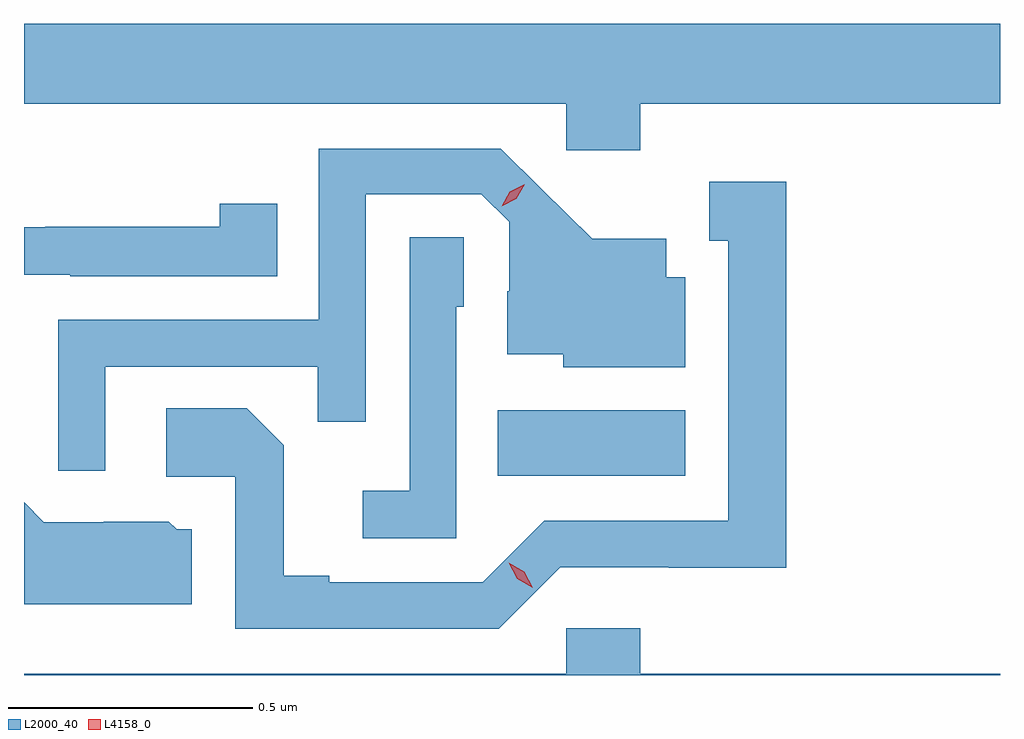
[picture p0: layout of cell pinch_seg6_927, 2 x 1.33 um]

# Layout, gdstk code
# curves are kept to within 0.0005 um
import gdstk
lib = gdstk.Library(unit=1e-6, precision=1e-09)
def R(c, l, rs):  # rectangles x0, y0, x1, y1
    for r in rs: c.add(gdstk.rectangle(r[:2], r[2:], *l))
def P(c, l, *ps):  # polygons
    for p in ps: c.add(gdstk.Polygon(p, *l))
L2000_40 = (2000, 40)
L4158_0 = (4158, 0)

pinch_seg6_927 = lib.new_cell('pinch_seg6_927')
R(pinch_seg6_927, L2000_40, [(122.272,915.938,122.656,916.072)])
P(pinch_seg6_927, L2000_40, [(122.564,916.7),(123.301,916.7),(123.301,916.864),(121.301,916.864),(121.301,916.7),(122.412,916.7),(122.412,916.605),(122.564,916.605)],
  [(121.467,916.161),(121.903,916.161),(121.903,916.048),(122.001,916.048),(122.001,916.515),(122.238,916.515),(122.295,916.458),(122.295,916.316),(122.291,916.316),(122.291,916.187),(122.406,916.187),(122.406,916.16),(122.656,916.16),(122.656,916.345),(122.617,916.345),(122.617,916.423),(122.465,916.423),(122.278,916.608),(121.905,916.608),(121.905,916.257),(121.371,916.257),(121.371,915.948),(121.467,915.948)],
  [(122.4,915.75),(122.622,915.75),(122.622,915.749),(122.863,915.749),(122.863,916.54),(122.705,916.54),(122.705,916.419),(122.744,916.419),(122.744,915.846),(122.367,915.846),(122.241,915.72),(121.927,915.72),(121.927,915.733),(121.833,915.733),(121.833,916),(121.757,916.076),(121.593,916.076),(121.593,915.936),(121.734,915.936),(121.734,915.624),(122.274,915.624)],
  [(121.82,916.495),(121.702,916.495),(121.702,916.448),(121.345,916.448),(121.345,916.447),(121.301,916.447),(121.301,916.35),(121.396,916.35),(121.396,916.347),(121.82,916.347)],
  [(122.187,916.284),(122.202,916.284),(122.202,916.427),(122.091,916.427),(122.091,915.907),(121.995,915.907),(121.995,915.81),(122.187,915.81)],
  [(121.645,915.828),(121.614,915.828),(121.598,915.844),(121.464,915.844),(121.464,915.843),(121.341,915.843),(121.301,915.883),(121.301,915.674),(121.645,915.674)],
  [(123.301,915.532),(122.564,915.532),(122.564,915.625),(122.412,915.625),(122.412,915.532),(121.301,915.532),(121.301,915.529),(123.301,915.529)])
P(pinch_seg6_927, L4158_0, [(122.344,915.708),(122.312,915.727),(122.294,915.76),(122.294,915.76),(122.294,915.76),(122.326,915.741),(122.344,915.708),(122.344,915.708)],
  [(122.28,916.49),(122.28,916.49),(122.296,916.52),(122.327,916.535),(122.327,916.535),(122.327,916.535),(122.31,916.505),(122.28,916.49)])

lib.write_gds('pinch_seg6_927.gds')
